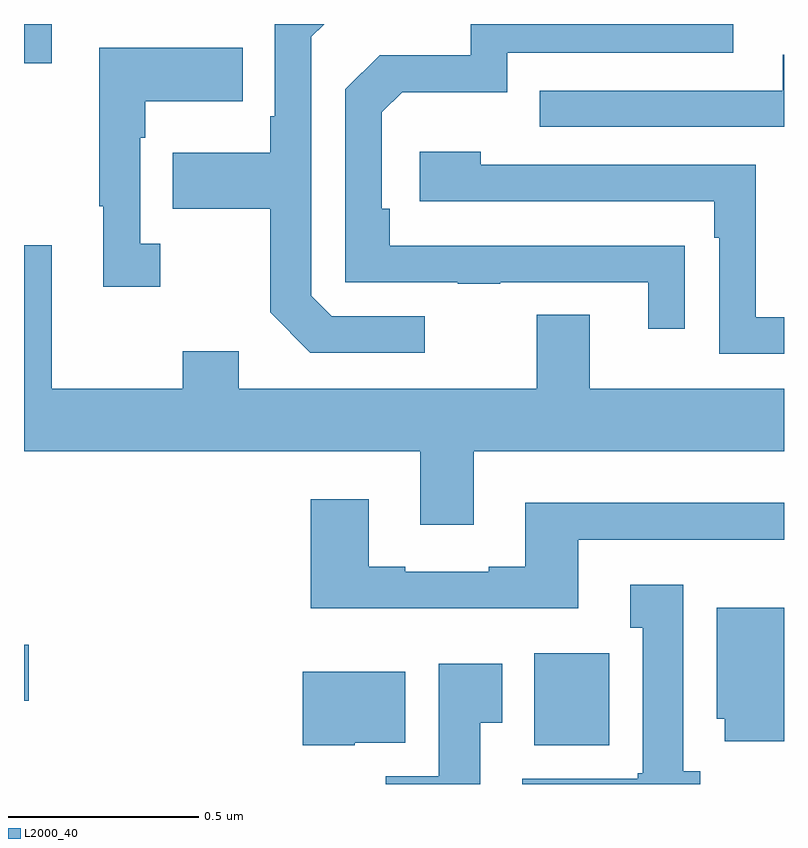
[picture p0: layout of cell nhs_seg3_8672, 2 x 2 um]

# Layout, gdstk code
import gdstk
lib = gdstk.Library(unit=1e-6, precision=1e-09)
def R(c, l, rs):  # rectangles x0, y0, x1, y1
    for r in rs: c.add(gdstk.rectangle(r[:2], r[2:], *l))
def P(c, l, *ps):  # polygons
    for p in ps: c.add(gdstk.Polygon(p, *l))
L2000_40 = (2000, 40)

nhs_seg3_8672 = lib.new_cell('nhs_seg3_8672')
R(nhs_seg3_8672, L2000_40, [(220.343,673.502,220.54,673.744), (219,673.619,219.013,673.766), (219,675.297,219.073,675.4)])
P(nhs_seg3_8672, L2000_40, [(220.739,674.816),(220.637,674.816),(220.637,674.817),(219.962,674.817),(219.962,674.914),(219.942,674.914),(219.942,675.168),(219.995,675.221),(220.272,675.221),(220.272,675.324),(220.867,675.324),(220.867,675.4),(220.176,675.4),(220.176,675.318),(219.936,675.318),(219.846,675.228),(219.846,674.721),(220.141,674.721),(220.141,674.716),(220.253,674.716),(220.253,674.721),(220.643,674.721),(220.643,674.598),(220.739,674.598)],
  [(220.054,674.631),(219.81,674.631),(219.756,674.685),(219.756,675.366),(219.79,675.4),(219.66,675.4),(219.66,675.157),(219.648,675.157),(219.648,675.061),(219.391,675.061),(219.391,674.914),(219.648,674.914),(219.648,674.641),(219.753,674.535),(220.054,674.535)],
  [(219.358,674.822),(219.306,674.822),(219.306,675.101),(219.319,675.101),(219.319,675.197),(219.575,675.197),(219.575,675.337),(219.198,675.337),(219.198,674.921),(219.209,674.921),(219.209,674.709),(219.358,674.709)],
  [(221,675.319),(220.997,675.319),(220.997,675.225),(220.357,675.225),(220.357,675.129),(221,675.129)],
  [(221,674.628),(220.926,674.628),(220.926,675.03),(220.202,675.03),(220.202,675.064),(220.041,675.064),(220.041,674.934),(220.817,674.934),(220.817,674.837),(220.83,674.837),(220.83,674.532),(221,674.532)],
  [(220.183,674.276),(221,674.276),(221,674.44),(220.489,674.44),(220.489,674.635),(220.349,674.635),(220.349,674.44),(219.565,674.44),(219.565,674.539),(219.418,674.539),(219.418,674.44),(219.073,674.44),(219.073,674.818),(219,674.818),(219,674.276),(220.043,674.276),(220.043,674.082),(220.183,674.082)],
  [(220.459,674.043),(221,674.043),(221,674.14),(220.319,674.14),(220.319,673.972),(220.223,673.972),(220.223,673.959),(220.003,673.959),(220.003,673.972),(219.907,673.972),(219.907,674.149),(219.755,674.149),(219.755,673.862),(220.459,673.862)],
  [(220.78,673.434),(220.735,673.434),(220.735,673.924),(220.595,673.924),(220.595,673.811),(220.628,673.811),(220.628,673.428),(220.615,673.428),(220.615,673.414),(220.311,673.414),(220.311,673.4),(220.78,673.4)],
  [(221,673.864),(220.823,673.864),(220.823,673.572),(220.844,673.572),(220.844,673.512),(221,673.512)],
  [(220.201,673.561),(220.258,673.561),(220.258,673.717),(220.091,673.717),(220.091,673.42),(219.952,673.42),(219.952,673.4),(220.201,673.4)],
  [(219.87,673.508),(220.003,673.508),(220.003,673.696),(219.734,673.696),(219.734,673.502),(219.87,673.502)])

lib.write_gds('nhs_seg3_8672.gds')
